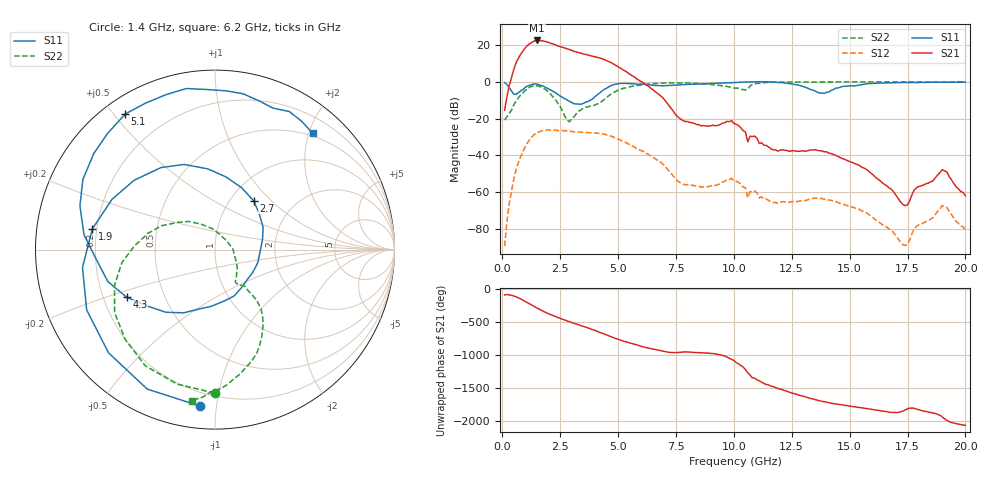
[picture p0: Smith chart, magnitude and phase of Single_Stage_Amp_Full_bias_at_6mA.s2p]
! AWR Design Environment (8415) Sun Oct 15 14:44:39 2017
! Document = 'Single_Stage_Amp_Full_bias_at_6mA'
! nPorts: 2, nXvals: 200
# HZ S DB R 50
!Freq DBS11 AngS11 DBS21 AngS21 DBS12 AngS12 DBS22 AngS22
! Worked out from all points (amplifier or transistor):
!   200 points, 100 MHz to 20 GHz, reference 50 ohm
!   highest |S21| = 22.6 dB at 1.5 GHz (marker M1)
!   |S21| within 3 dB of that: 1.07 GHz to 2.411 GHz (1.341 GHz wide, 77.1 % of centre)
!   unconditionally stable (mu >= 1): start of sweep to 995.1 MHz; 2.361 GHz to 10.81 GHz; 11.6 GHz to end of sweep
!   at 3.4 GHz: K = 1.86, MAG = 16.2 dB, |S12| = -27.4 dB
!   at 10.1 GHz: K = 145.81, MAG = -9.1 dB, |S12| = -54.2 dB
!   at 20 GHz: K = 510.45, MAG = -20.7 dB, |S12| = -80.8 dB
!   lowest NFmin = 0.81 dB at 3 GHz
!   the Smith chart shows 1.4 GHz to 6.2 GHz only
!   S11 on the Smith chart (normalised r, x): 1.4 GHz: 0.12, -0.90; 1.9 GHz: 0.18, +0.08; 2.7 GHz: 1.27, +0.79; 4.3 GHz: 0.30, -0.23; 5.1 GHz: 0.06, +0.54; 6.2 GHz: 0.45, +2.06
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1e8  -0.40 -36.3  -15.54 -86.8  -89.61 -176.1  -20.84 153.5
5e8  -6.78 171.6  6.94 -102.8  -52.87 173.2  -12.43 55.5
8e8  -4.88 53.9  15.20 -148.4  -40.54 129.9  -7.08 8.0
1.1e9  -2.22 -27.7  19.94 153.6  -32.99 74.2  -3.61 -41.6
1.2e9  -1.79 -51.2  20.93 133.4  -31.27 54.9  -2.77 -57.7
1.4e9  -1.15 -95.4  22.35 93.3  -28.52 16.4  -1.95 -90.2
1.5e9  -1.27 -115.9  22.57 73.7  -27.72 -2.2  -2.17 -105.6
1.7e9  -2.05 -154.9  22.40 36.0  -26.80 -38.1  -3.01 -135.1
1.9e9  -3.18 170.5  21.89 2.1  -26.35 -70.2  -4.52 -160.4
2.3e9  -5.94 109.9  20.15 -56.8  -26.37 -125.7  -9.74 155.9
2.7e9  -9.20 51.8  18.41 -109.7  -26.66 -175.4  -18.65 96.7
3e9  -11.32 12.6  17.15 -146.6  -27.02 150.3  -20.08 3.2
3.5e9  -11.74 -55.3  15.20 154.3  -27.62 95.5  -14.33 -51.5
3.9e9  -9.34 -104.5  13.99 105.8  -27.84 50.7  -13.11 -57.7
4.3e9  -5.05 -151.6  12.65 52.0  -28.27 0.5  -10.65 -51.2
5.1e9  -0.86 123.5  7.55 -54.8  -31.70 -99.2  -4.12 -68.0
6.2e9  -1.45 50.0  -1.66 -167.3  -38.95 157.9  -1.38 -98.8
6.8e9  -2.09 22.5  -7.23 147.4  -43.52 117.9  -0.71 -110.9
1.01e10  -0.33 -79.9  -23.14 -36.4  -54.24 -38.4  -3.42 140.1
1.34e10  -4.44 158.5  -37.17 130.2  -63.63 147.6  -0.09 -131.6
1.67e10  -0.51 -61.8  -57.80 -71.7  -80.25 -39.1  -0.01 -146.5
2e10  -0.15 -99.8  -62.10 85.7  -80.80 127.9  -0.01 -154.6
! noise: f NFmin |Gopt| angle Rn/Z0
1e+08  8.787  0.9649  36.12  91.79
2.3e+09  0.8681  0.2236  133.3  0.07723
4.5e+09  0.867  0.2158  -170.9  0.06233
6.7e+09  4.271  0.8077  -33.39  3.848
8.9e+09  15.42  0.8877  50.88  116.1
1.11e+10  2.915  0.986  102.7  40.63
1.33e+10  14.69  0.6274  -169  1.902
1.55e+10  15.11  0.8304  34.76  77.38
1.77e+10  18.75  0.9561  77.05  505.4
2e+10  21.93  0.983  99.81  1875
